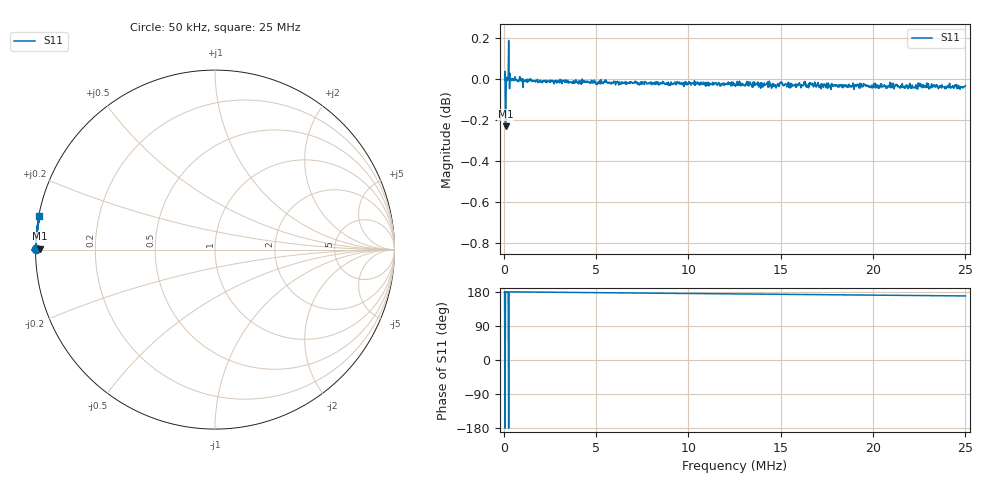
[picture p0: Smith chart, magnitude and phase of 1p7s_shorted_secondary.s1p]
# HZ S RI R 50
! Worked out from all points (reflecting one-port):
!   1023 points, 50 kHz to 25 MHz, reference 50 ohm
!   lowest |S11| = -0.2 dB at 98.83 kHz (marker M1), VSWR 74.91, Z = 0.667 + j0.126 ohm
!   phase of S11 starts at 180 deg and turns -11 deg over the sweep
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50000  -0.9995 0.00104
98826  -0.9736 0.0049
123239  -0.9863 0.0238
147652  -1.001 0.000285
196478  -1 0.00196
220891  -0.9992 0.00174
245304  -1.002 0.00144
269717  -1.022 -0.00376
391782  -1 0.00313
416195  -0.9992 0.00252
440608  -0.9989 0.00421
465021  -1 0.00385
1172998  -0.9986 0.00894
3174864  -0.9988 0.0257
6299728  -0.9958 0.0496
9424592  -0.9949 0.0731
1.252504e7  -0.9916 0.0973
1.364804e7  -0.9916 0.1043
1.391658e7  -0.9891 0.1058
1.430719e7  -0.9893 0.1093
1.462456e7  -0.9895 0.1116
1.5064e7  -0.991 0.1169
1.564991e7  -0.9887 0.12
1.665084e7  -0.9884 0.1281
1.716351e7  -0.9881 0.1321
1.877477e7  -0.9858 0.1419
2.189964e7  -0.9806 0.1655
2.500009e7  -0.9781 0.1891
